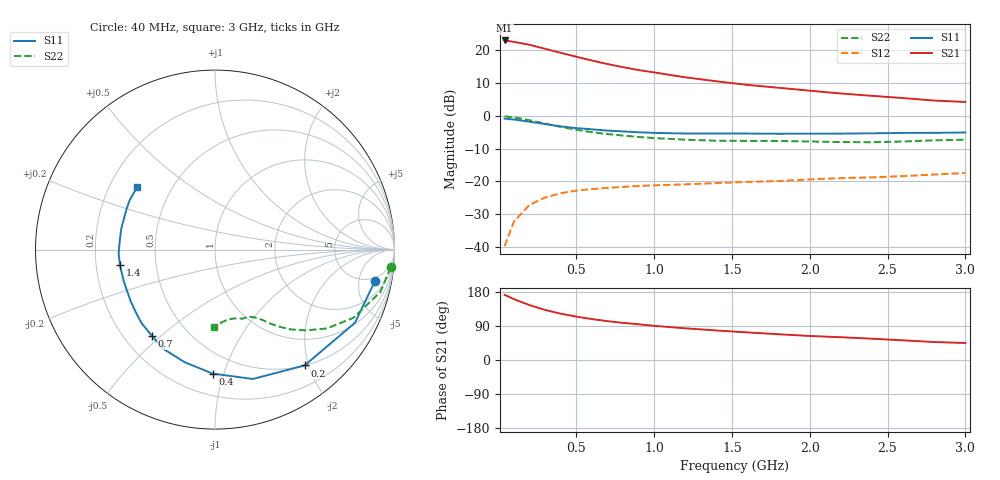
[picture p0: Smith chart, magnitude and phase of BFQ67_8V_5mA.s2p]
! Filename:  BFG67H.S2P  Version:  2.0
! Philips part #: BFG 67  Date: Jul 1990
! Bias condition: Vce=8V, Ic=5mA
! IN LINE PINNING: same data as with cross emitter pinning.
#  MHz  S  MA  R  50
! Freq  S11  S21  S12  S22  !GUM [dB]
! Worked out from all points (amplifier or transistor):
!   21 points, 40 MHz to 3 GHz, reference 50 ohm
!   highest |S21| = 23.1 dB at 40 MHz (marker M1)
!   |S21| within 3 dB of that: start of sweep to 336.9 MHz
!   unconditionally stable (mu >= 1): 1.782 GHz to end of sweep
!   at 300 MHz: K = 0.21, MSG = 22.7 dB, |S12| = -24.9 dB
!   at 1 GHz: K = 0.66, MSG = 17.3 dB, |S12| = -21.2 dB
!   at 3 GHz: K = 1.22, MAG = 8.0 dB, |S12| = -17.5 dB
!   lowest NFmin = 0.95 dB at 500 MHz
!   S11 on the Smith chart (normalised r, x): 40 MHz: 4.08, -8.19; 200 MHz: 0.50, -1.93; 400 MHz: 0.35, -0.92; 700 MHz: 0.31, -0.47; 1.4 GHz: 0.30, -0.07; 3 GHz: 0.32, +0.32
40  0.908 -11.2  14.23 172.0  0.0102 83.4  0.984 -5.8
100  0.88 -27.6  13.54 160.5  0.0243 74.6  0.951 -14.4
200  0.816 -52.3  12.21 144.9  0.0436 62.7  0.859 -26.3
300  0.751 -73.7  10.62 132.2  0.0566 53.9  0.762 -35.2
400  0.691 -91.1  9.2 122.2  0.0657 47.5  0.678 -41.6
500  0.65 -105.0  8.021 114.5  0.072 43.5  0.614 -46.4
600  0.624 -117.0  7.033 108.0  0.0761 40.9  0.564 -49.8
700  0.596 -126.0  6.211 102.6  0.0793 39.5  0.528 -52.3
800  0.579 -135.0  5.559 98.0  0.0822 38.6  0.501 -54.2
900  0.562 -142.0  5.021 94.3  0.0849 38.3  0.477 -55.7
1000  0.55 -149.0  4.626 90.2  0.0867 37.6  0.458 -57.3
1200  0.538 -161.0  3.89 83.6  0.0899 38.8  0.433 -60.3
1400  0.537 -171.0  3.382 77.9  0.094 39.4  0.417 -63.7
1600  0.537 -178.0  2.976 72.8  0.0979 41.0  0.415 -66.4
1800  0.533 174.9  2.692 68.0  0.101 42.6  0.414 -68.5
2000  0.535 167.5  2.429 63.4  0.107 44.8  0.406 -70.9
2200  0.536 161.0  2.201 60.1  0.112 46.4  0.398 -74.8
2400  0.542 155.6  2.027 56.2  0.115 47.9  0.396 -79.4
2600  0.549 150.3  1.872 51.9  0.12 49.7  0.406 -84.4
2800  0.551 145.8  1.716 47.4  0.127 51.5  0.423 -88.1
3000  0.557 141.4  1.633 44.9  0.134 51.0  0.433 -90.4
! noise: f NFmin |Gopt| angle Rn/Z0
500  0.95  0.455  33.8  0.288
1000  1.3  0.375  65.9  0.304
2000  2.2  0.391  136.5  0.184
